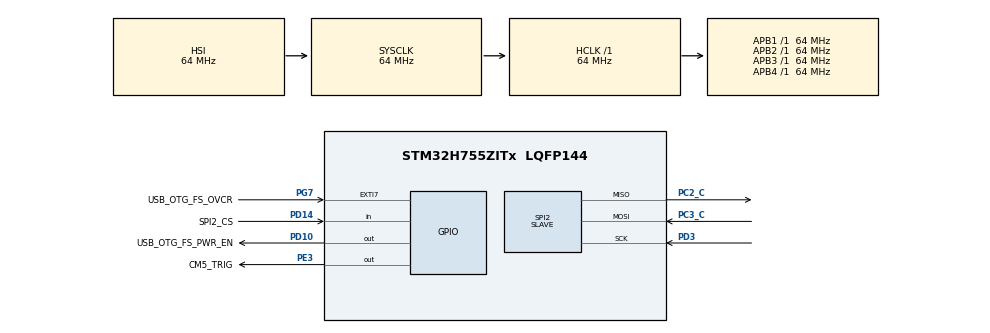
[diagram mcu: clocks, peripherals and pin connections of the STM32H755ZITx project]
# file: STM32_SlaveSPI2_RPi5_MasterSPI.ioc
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CortexM4.IPs=FATFS_M4\:I,FREERTOS_M4\:I,IWDG2\:I,RCC,WWDG2\:I,DMA,BDMA,MDMA,NVIC2\:I,DEBUG,PDM2PCM_M4\:I,PWR,RESMGR_UTILITY,SYS_M4\:I,USB_DEVICE_M4\:I,USB_HOST_M4\:I,CORTEX_M4\:I,GPIO,OPENAMP_M4\:I,VREFBUF,NUCLEO-H755ZI-Q
CortexM7.IPs=FATFS_M7\:I,FREERTOS_M7\:I,IWDG1\:I,RCC\:I,WWDG1\:I,DMA\:I,BDMA\:I,MDMA\:I,NVIC1\:I,USB_OTG_FS\:I,USB_OTG_FS1\:I,SYS\:I,CORTEX_M7\:I,DEBUG\:I,PDM2PCM_M7\:I,PWR\:I,RESMGR_UTILITY\:I,USB_DEVICE_M7\:I,USB_HOST_M7\:I,GPIO\:I,OPENAMP_M7\:I,VREFBUF\:I,NUCLEO-H755ZI-Q\:I,SPI2\:I
CortexM7.Pins=PE3,PD14
Mcu.Family=STM32H7
Mcu.Name=STM32H755ZITx
Mcu.Package=LQFP144
NUCLEO-H755ZI-Q.BUTTON=1
NUCLEO-H755ZI-Q.LD1=true
NUCLEO-H755ZI-Q.LD2=true
NUCLEO-H755ZI-Q.LD3=true
NUCLEO-H755ZI-Q.VCP=true
NVIC1.EXTI15_10_IRQn=true\:0\:0\:false\:false\:true\:false\:true\:true
NVIC1.PriorityGroup=NVIC_PRIORITYGROUP_4
NVIC2.PriorityGroup=NVIC_PRIORITYGROUP_4
PA1.PinAttribute=CortexM4
PA1.Signal=ETH_REF_CLK
PA11.PinAttribute=CortexM7
PA11.Signal=USB_OTG_FS_DM
PA12.PinAttribute=CortexM7
PA12.Signal=USB_OTG_FS_DP
PA2.PinAttribute=CortexM4
PA2.Signal=ETH_MDIO
PA7.PinAttribute=CortexM4
PA7.Signal=ETH_CRS_DV
PA8.PinAttribute=CortexM7
PA8.Signal=USB_OTG_FS_SOF
PA9.PinAttribute=CortexM7
PA9.Signal=USB_OTG_FS_VBUS
PB13.PinAttribute=CortexM4
PB13.Signal=ETH_TXD1
PC1.PinAttribute=CortexM4
PC1.Signal=ETH_MDC
PC14-OSC32_IN\ (OSC32_IN).PinAttribute=Free
PC14-OSC32_IN\ (OSC32_IN).Signal=RCC_OSC32_IN
PC15-OSC32_OUT\ (OSC32_OUT).PinAttribute=Free
PC15-OSC32_OUT\ (OSC32_OUT).Signal=RCC_OSC32_OUT
PC2_C.Mode=Full_Duplex_Slave
PC2_C.PinAttribute=CortexM7
PC2_C.Signal=SPI2_MISO
PC3_C.Mode=Full_Duplex_Slave
PC3_C.PinAttribute=CortexM7
PC3_C.Signal=SPI2_MOSI
PC4.PinAttribute=CortexM4
PC4.Signal=ETH_RXD0
PC5.PinAttribute=CortexM4
PC5.Signal=ETH_RXD1
PD10.GPIO_Label=USB_OTG_FS_PWR_EN
PD10.PinAttribute=Free
PD10.Signal=GPIO_Output
PD14.GPIO_Label=SPI2_CS
PD14.PinAttribute=CortexM7
PD14.Signal=GPIO_Input
PD3.Mode=Full_Duplex_Slave
PD3.PinAttribute=CortexM7
PD3.Signal=SPI2_SCK
PD8.Signal=USART3_TX
PD9.Signal=USART3_RX
PE3.GPIO_Label=CM5_TRIG
PE3.GPIO_Speed=GPIO_SPEED_FREQ_VERY_HIGH
PE3.PinAttribute=CortexM7
PE3.Signal=GPIO_Output
PG11.PinAttribute=CortexM4
PG11.Signal=ETH_TX_EN
PG13.PinAttribute=CortexM4
PG13.Signal=ETH_TXD0
PG7.GPIO_Label=USB_OTG_FS_OVCR
PG7.PinAttribute=Free
PG7.Signal=GPXTI7
PH0-OSC_IN\ (PH0).PinAttribute=Free
PH0-OSC_IN\ (PH0).Signal=RCC_OSC_IN
PH1-OSC_OUT\ (PH1).PinAttribute=Free
PH1-OSC_OUT\ (PH1).Signal=RCC_OSC_OUT
ProjectManager.HeapSize=M4-0x200,M7-0x200
ProjectManager.StackSize=M4-0x400,M7-0x400
ProjectManager.TargetToolchain=STM32CubeIDE
RCC.ADCFreq_Value=129000000
RCC.APB1Freq_Value=64000000
RCC.APB2Freq_Value=64000000
RCC.APB3Freq_Value=64000000
RCC.APB4Freq_Value=64000000
RCC.CortexFreq_Value=64000000
RCC.DIVM1=4
RCC.DIVN1=9
RCC.HCLKFreq_Value=64000000
RCC.PLL2FRACN=0
RCC.PLL3FRACN=0
RCC.PLLFRACN=3072
RCC.SYSCLKFreq_VALUE=64000000
RCC.SupplySource=PWR_DIRECT_SMPS_SUPPLY
RCC.USBFreq_Value=75000000
SPI2.DataSize=SPI_DATASIZE_8BIT
SPI2.Direction=SPI_DIRECTION_2LINES
SPI2.Mode=SPI_MODE_SLAVE
SPI2.VirtualType=VM_SLAVE
VP_NUCLEO-H755ZI-Q_VS_BSP_COMMON.Mode=COMMON
VP_SYS_M4_VS_Systick.Mode=SysTick
board=NUCLEO-H755ZI-Q

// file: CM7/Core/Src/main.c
/* USER CODE BEGIN Header */
/**
  ******************************************************************************
  * @file           : main.c
  * @brief          : Main program body
  ******************************************************************************
  * @attention
  *
  * Copyright (c) 2026 STMicroelectronics.
  * All rights reserved.
  *
  * This software is licensed under terms that can be found in the LICENSE file
  * in the root directory of this software component.
  * If no LICENSE file comes with this software, it is provided AS-IS.
  *
  ******************************************************************************
  */
/* USER CODE END Header */
#include "main.h"

/* USER CODE BEGIN Includes */
#include "spi2_slave.h"
#include "hm_spi.h"
/* USER CODE END Includes */

/* USER CODE BEGIN PD */

/* DUAL_CORE_BOOT_SYNC_SEQUENCE: Define for dual core boot synchronization    */
/*                             demonstration code based on hardware semaphore */
/* This define is present in both CM7/CM4 projects                            */
/* To comment when developping/debugging on a single core                     */
#define DUAL_CORE_BOOT_SYNC_SEQUENCE

#if defined(DUAL_CORE_BOOT_SYNC_SEQUENCE)
#ifndef HSEM_ID_0
#define HSEM_ID_0 (0U) /* HW semaphore 0*/
#endif
#endif /* DUAL_CORE_BOOT_SYNC_SEQUENCE */

/* USER CODE END PD */

COM_InitTypeDef BspCOMInit;

SPI_HandleTypeDef hspi2;

DMA_HandleTypeDef hdma_spi2_tx;

/* USER CODE BEGIN PV */

/*
 * ============================================================
 * Non-Blocking SPI2 bring-up test data
 * ============================================================
 *
 * HM_PACKET_SIZE = 204 bytes
 * HM_SEQUENCE_SIZE = 2 bytes
 * HM_DATA_SIZE = 202 bytes
 *
 * Byte 0~1:
 *     HM 自動加入 16-bit sequence number
 *
 * Byte 2~203:
 *     這裡提供固定的測試 pattern
 *
 * 測試 pattern：
 *
 *     Byte 2  = 0x00
 *     Byte 3  = 0x01
 *     ...
 *     Byte 203 = 0xC9
 *
 * 目前 CM5 主要驗證 sequence，
 * payload pattern 保留給後續驗證使用。
 */
static uint8_t spi_test_data[HM_DATA_SIZE];

/* USER CODE END PV */

void SystemClock_Config(void);
static void MX_GPIO_Init(void);
static void MX_SPI2_Init(void);
static void MX_DMA_Init(void);

int main(void)
{

/* USER CODE BEGIN Boot_Mode_Sequence_0 */
#if defined(DUAL_CORE_BOOT_SYNC_SEQUENCE)
  int32_t timeout;
#endif /* DUAL_CORE_BOOT_SYNC_SEQUENCE */
/* USER CODE END Boot_Mode_Sequence_0 */

/* USER CODE BEGIN Boot_Mode_Sequence_1 */
#if defined(DUAL_CORE_BOOT_SYNC_SEQUENCE)
  /* Wait until CPU2 boots and enters in stop mode or timeout*/
  timeout = 0xFFFF;
  while((__HAL_RCC_GET_FLAG(RCC_FLAG_D2CKRDY) != RESET) && (timeout-- > 0));
  if ( timeout < 0 )
  {
  Error_Handler();
  }
#endif /* DUAL_CORE_BOOT_SYNC_SEQUENCE */
/* USER CODE END Boot_Mode_Sequence_1 */
  /* MCU Configuration--------------------------------------------------------*/

  /* Reset of all peripherals, Initializes the Flash interface and the Systick. */
  HAL_Init();

  /* Configure the system clock */
  SystemClock_Config();
/* USER CODE BEGIN Boot_Mode_Sequence_2 */
#if defined(DUAL_CORE_BOOT_SYNC_SEQUENCE)
/* When system initialization is finished, Cortex-M7 will release Cortex-M4 by means of
HSEM notification */
/*HW semaphore Clock enable*/
__HAL_RCC_HSEM_CLK_ENABLE();
/*Take HSEM */
HAL_HSEM_FastTake(HSEM_ID_0);
/*Release HSEM in order to notify the CPU2(CM4)*/
HAL_HSEM_Release(HSEM_ID_0,0);
/* wait until CPU2 wakes up from stop mode */
timeout = 0xFFFF;
while((__HAL_RCC_GET_FLAG(RCC_FLAG_D2CKRDY) == RESET) && (timeout-- > 0));
if ( timeout < 0 )
{
Error_Handler();
}
#endif /* DUAL_CORE_BOOT_SYNC_SEQUENCE */
/* USER CODE END Boot_Mode_Sequence_2 */

  /* Initialize all configured peripherals */
  MX_GPIO_Init();
  MX_DMA_Init();
  MX_SPI2_Init();

  /*
   * ============================================================
   * SPI2 Slave interrupt initialization
   * ============================================================
   *
   * SPI2 peripheral has already been initialized above.
   *
   * Enable the Cortex-M7 NVIC interrupt only after
   * MX_SPI2_Init() has completed.
   * ============================================================
   */
  SPI2_Slave_Init();

  /* USER CODE BEGIN 2 */

  /*
   * ============================================================
   * HM SPI Ring Buffer 初始化
   * ============================================================
   *
   * 正式整合時：
   *     HM_Init() 由本模組初始化流程執行。
   *
   * 目前尚未接入正式 EtherCAT application，
   * 因此由 main.c 進行初始化。
   * ============================================================
   */
  if (HM_Init() != HAL_OK)
  {
    Error_Handler();
  }

  /* USER CODE END 2 */

  /*
   * ============================================================
   * Prepare Non-Blocking SPI2 test data
   * ============================================================
   *
   * Fill the 202-byte EtherCAT application-data test area
   * with a simple incremental pattern.
   */
  for (uint32_t i = 0U; i < HM_DATA_SIZE; i++)
  {
    spi_test_data[i] = (uint8_t)i;
  }

  /* Initialize leds */
  BSP_LED_Init(LED_GREEN);
  BSP_LED_Init(LED_YELLOW);
  BSP_LED_Init(LED_RED);

  /* Initialize USER push-button, will be used to trigger an interrupt each time it's pressed.*/
  BSP_PB_Init(BUTTON_USER, BUTTON_MODE_EXTI);

  /* Initialize COM1 port (115200, 8 bits (7-bit data + 1 stop bit), no parity */
  BspCOMInit.BaudRate   = 115200;
  BspCOMInit.WordLength = COM_WORDLENGTH_8B;
  BspCOMInit.StopBits   = COM_STOPBITS_1;
  BspCOMInit.Parity     = COM_PARITY_NONE;
  BspCOMInit.HwFlowCtl  = COM_HWCONTROL_NONE;
  if (BSP_COM_Init(COM1, &BspCOMInit) != BSP_ERROR_NONE)
  {
    Error_Handler();
  }

  HAL_Delay(8000U);// 延後啟動，與 CM5 取得同步

  /* Infinite loop */
  /* USER CODE BEGIN WHILE */

  while (1)
  {

    static uint32_t last_test_tick = 0U;
    uint32_t now = HAL_GetTick();

    if ((now - last_test_tick) >= 1U)
    {
        last_test_tick = now;

        HAL_GPIO_WritePin(GPIOE, GPIO_PIN_2, GPIO_PIN_SET);// 示波器測試用接腳，用於測試執行以下 function 需要花費多久時間。

        (void)HM_SendPacket(
            spi_test_data,
            HM_DATA_SIZE);

        HAL_GPIO_WritePin(GPIOE, GPIO_PIN_2, GPIO_PIN_RESET);

    }

    /* USER CODE END WHILE */

  }
}

void SystemClock_Config(void)
{
  RCC_OscInitTypeDef RCC_OscInitStruct = {0};
  RCC_ClkInitTypeDef RCC_ClkInitStruct = {0};

  /** Supply configuration update enable
  */
  HAL_PWREx_ConfigSupply(PWR_DIRECT_SMPS_SUPPLY);

  /** Configure the main internal regulator output voltage
  */
  __HAL_PWR_VOLTAGESCALING_CONFIG(PWR_REGULATOR_VOLTAGE_SCALE3);

  while(!__HAL_PWR_GET_FLAG(PWR_FLAG_VOSRDY)) {}

  /** Initializes the RCC Oscillators according to the specified parameters
  * in the RCC_OscInitTypeDef structure.
  */
  RCC_OscInitStruct.OscillatorType = RCC_OSCILLATORTYPE_HSI;
  RCC_OscInitStruct.HSIState = RCC_HSI_DIV1;
  RCC_OscInitStruct.HSICalibrationValue = RCC_HSICALIBRATION_DEFAULT;
  RCC_OscInitStruct.PLL.PLLState = RCC_PLL_ON;
  RCC_OscInitStruct.PLL.PLLSource = RCC_PLLSOURCE_HSI;
  RCC_OscInitStruct.PLL.PLLM = 4;
  RCC_OscInitStruct.PLL.PLLN = 9;
  RCC_OscInitStruct.PLL.PLLP = 2;
  RCC_OscInitStruct.PLL.PLLQ = 2;
  RCC_OscInitStruct.PLL.PLLR = 2;
  RCC_OscInitStruct.PLL.PLLRGE = RCC_PLL1VCIRANGE_3;
  RCC_OscInitStruct.PLL.PLLVCOSEL = RCC_PLL1VCOMEDIUM;
  RCC_OscInitStruct.PLL.PLLFRACN = 3072;
  if (HAL_RCC_OscConfig(&RCC_OscInitStruct) != HAL_OK)
  {
    Error_Handler();
  }

  /** Initializes the CPU, AHB and APB buses clocks
  */
  RCC_ClkInitStruct.ClockType = RCC_CLOCKTYPE_HCLK|RCC_CLOCKTYPE_SYSCLK
                              |RCC_CLOCKTYPE_PCLK1|RCC_CLOCKTYPE_PCLK2
                              |RCC_CLOCKTYPE_D3PCLK1|RCC_CLOCKTYPE_D1PCLK1;
  RCC_ClkInitStruct.SYSCLKSource = RCC_SYSCLKSOURCE_HSI;
  RCC_ClkInitStruct.SYSCLKDivider = RCC_SYSCLK_DIV1;
  RCC_ClkInitStruct.AHBCLKDivider = RCC_HCLK_DIV1;
  RCC_ClkInitStruct.APB3CLKDivider = RCC_APB3_DIV1;
  RCC_ClkInitStruct.APB1CLKDivider = RCC_APB1_DIV1;
  RCC_ClkInitStruct.APB2CLKDivider = RCC_APB2_DIV1;
  RCC_ClkInitStruct.APB4CLKDivider = RCC_APB4_DIV1;

  if (HAL_RCC_ClockConfig(&RCC_ClkInitStruct, FLASH_LATENCY_1) != HAL_OK)
  {
    Error_Handler();
  }
}

static void MX_SPI2_Init(void)
{

  /* SPI2 parameter configuration*/
  hspi2.Instance = SPI2;
  hspi2.Init.Mode = SPI_MODE_SLAVE;
  hspi2.Init.Direction = SPI_DIRECTION_2LINES;
  hspi2.Init.DataSize = SPI_DATASIZE_8BIT;
  hspi2.Init.CLKPolarity = SPI_POLARITY_LOW;
  hspi2.Init.CLKPhase = SPI_PHASE_1EDGE;
  hspi2.Init.NSS = SPI_NSS_SOFT;
  hspi2.Init.FirstBit = SPI_FIRSTBIT_MSB;
  hspi2.Init.TIMode = SPI_TIMODE_DISABLE;
  hspi2.Init.CRCCalculation = SPI_CRCCALCULATION_DISABLE;
  hspi2.Init.CRCPolynomial = 0x0;
  hspi2.Init.NSSPMode = SPI_NSS_PULSE_DISABLE;
  hspi2.Init.NSSPolarity = SPI_NSS_POLARITY_LOW;
  hspi2.Init.FifoThreshold = SPI_FIFO_THRESHOLD_01DATA;
  hspi2.Init.TxCRCInitializationPattern = SPI_CRC_INITIALIZATION_ALL_ZERO_PATTERN;
  hspi2.Init.RxCRCInitializationPattern = SPI_CRC_INITIALIZATION_ALL_ZERO_PATTERN;
  hspi2.Init.MasterSSIdleness = SPI_MASTER_SS_IDLENESS_00CYCLE;
  hspi2.Init.MasterInterDataIdleness = SPI_MASTER_INTERDATA_IDLENESS_00CYCLE;
  hspi2.Init.MasterReceiverAutoSusp = SPI_MASTER_RX_AUTOSUSP_DISABLE;
  hspi2.Init.MasterKeepIOState = SPI_MASTER_KEEP_IO_STATE_DISABLE;
  hspi2.Init.IOSwap = SPI_IO_SWAP_DISABLE;
  if (HAL_SPI_Init(&hspi2) != HAL_OK)
  {
    Error_Handler();
  }

}

static void MX_GPIO_Init(void)
{
  GPIO_InitTypeDef GPIO_InitStruct = {0};

  /* GPIO Ports Clock Enable */
  __HAL_RCC_GPIOE_CLK_ENABLE();
  __HAL_RCC_GPIOC_CLK_ENABLE();
  __HAL_RCC_GPIOD_CLK_ENABLE();
  __HAL_RCC_GPIOA_CLK_ENABLE();
  __HAL_RCC_GPIOB_CLK_ENABLE();

  /*Configure GPIO pin Output Level */
  HAL_GPIO_WritePin(CM5_TRIG_GPIO_Port, CM5_TRIG_Pin, GPIO_PIN_RESET);

  /*Configure GPIO pin : CM5_TRIG_Pin */
  GPIO_InitStruct.Pin = CM5_TRIG_Pin|GPIO_PIN_2;
  GPIO_InitStruct.Mode = GPIO_MODE_OUTPUT_PP;
  GPIO_InitStruct.Pull = GPIO_NOPULL;
  GPIO_InitStruct.Speed = GPIO_SPEED_FREQ_VERY_HIGH;
  HAL_GPIO_Init(CM5_TRIG_GPIO_Port, &GPIO_InitStruct);

  /*Configure GPIO pin : SPI2_CS_Pin */
  GPIO_InitStruct.Pin = SPI2_CS_Pin;
  GPIO_InitStruct.Mode = GPIO_MODE_INPUT;
  GPIO_InitStruct.Pull = GPIO_NOPULL;
  HAL_GPIO_Init(SPI2_CS_GPIO_Port, &GPIO_InitStruct);

  /*Configure GPIO pins : PA8 PA11 PA12 */
  GPIO_InitStruct.Pin = GPIO_PIN_8|GPIO_PIN_11|GPIO_PIN_12;
  GPIO_InitStruct.Mode = GPIO_MODE_AF_PP;
  GPIO_InitStruct.Pull = GPIO_NOPULL;
  GPIO_InitStruct.Speed = GPIO_SPEED_FREQ_LOW;
  GPIO_InitStruct.Alternate = GPIO_AF10_OTG1_FS;
  HAL_GPIO_Init(GPIOA, &GPIO_InitStruct);

}

/* USER CODE BEGIN 4 */

static void MX_DMA_Init(void)
{
  __HAL_RCC_DMA1_CLK_ENABLE();

  HAL_NVIC_SetPriority(DMA1_Stream2_IRQn, 2U, 0U);
  HAL_NVIC_EnableIRQ(DMA1_Stream2_IRQn);
}

/* USER CODE END 4 */

void Error_Handler(void)
{
  __disable_irq();
  while (1)
  {
  }
}
